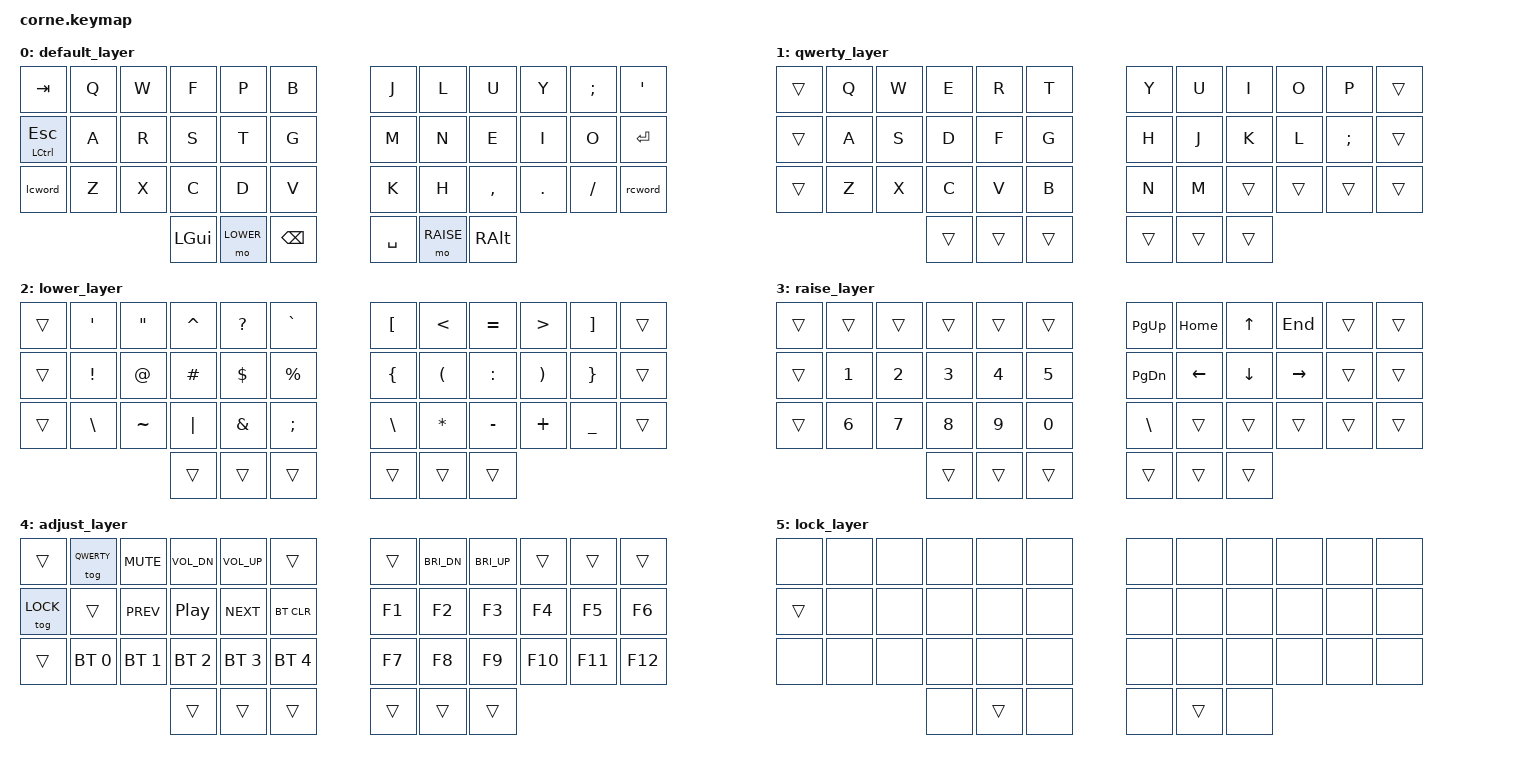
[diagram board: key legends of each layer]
/*
 * Copyright (c) 2020 The ZMK Contributors
 *
 * SPDX-License-Identifier: MIT
 */

#include <behaviors.dtsi>
#include <dt-bindings/zmk/keys.h>
#include <dt-bindings/zmk/bt.h>

#define DEFAULT 0
#define QWERTY  1
#define LOWER   2
#define RAISE   3
#define ADJUST  4
#define LOCK    5

// :: ------------------------------------------------------------------------------------------------------------------

// :: The following characters do NOT break Caps Word (in addition to alphanumeric characters).
//    https://zmk.dev/docs/behaviors/caps-word
&caps_word {
    continue-list = <UNDERSCORE MINUS BACKSPACE DELETE>;
};

/ {
    behaviors {
        // :: Enables Caps Word when key is tapped twice.
        lcword: tap_dance_0 {
            compatible = "zmk,behavior-tap-dance";
            label = "LCAPS_WORD_TD";
            tapping-term-ms = <200>;
            #binding-cells = <0>;
            bindings = <&kp LSHFT>, <&caps_word>;
        };

        rcword: tap_dance_1 {
            compatible = "zmk,behavior-tap-dance";
            label = "RCAPS_WORD_TD";
            tapping-term-ms = <200>;
            #binding-cells = <0>;
            bindings = <&kp RSHFT>, <&caps_word>;
        };
    };

    conditional_layers {
        compatible = "zmk,conditional-layers";
        adjust_layer {
            if-layers = <LOWER RAISE>;
            then-layer = <ADJUST>;
        };
    };

    keymap {
        compatible = "zmk,keymap";

        /* [0] */
        default_layer {
            bindings = <
/* --------------------------------------------------------------------------------------------------------------------------------------------------------------------------------- */
&kp TAB         &kp Q           &kp W           &kp F           &kp P           &kp B           &kp J           &kp L           &kp U           &kp Y           &kp SEMI        &kp SQT
&mt LCTRL ESC   &kp A           &kp R           &kp S           &kp T           &kp G           &kp M           &kp N           &kp E           &kp I           &kp O           &kp RET
&lcword         &kp Z           &kp X           &kp C           &kp D           &kp V           &kp K           &kp H           &kp COMMA       &kp DOT         &kp FSLH        &rcword
                                                &kp LGUI        &mo LOWER       &kp BKSP        &kp SPC         &mo RAISE       &kp RALT
/* --------------------------------------------------------------------------------------------------------------------------------------------------------------------------------- */
            >;
        };

        /* [1] */
        qwerty_layer {
            bindings = <
/* --------------------------------------------------------------------------------------------------------------------------------------------------------------------------------- */
&trans          &kp Q           &kp W           &kp E           &kp R           &kp T           &kp Y           &kp U           &kp I           &kp O           &kp P           &trans          
&trans          &kp A           &kp S           &kp D           &kp F           &kp G           &kp H           &kp J           &kp K           &kp L           &kp SEMI        &trans          
&trans          &kp Z           &kp X           &kp C           &kp V           &kp B           &kp N           &kp M           &trans          &trans          &trans          &trans          
                                                &trans          &trans          &trans          &trans          &trans          &trans          
/* --------------------------------------------------------------------------------------------------------------------------------------------------------------------------------- */
            >;
        };

        /* [2] */
        lower_layer {
            bindings = <
/* --------------------------------------------------------------------------------------------------------------------------------------------------------------------------------- */
&trans          &kp SQT         &kp DQT         &kp CARET       &kp QMARK       &kp GRAVE       &kp LBKT        &kp LT          &kp EQUAL       &kp GT          &kp RBKT        &trans          
&trans          &kp EXCL        &kp AT_SIGN     &kp HASH        &kp DOLLAR      &kp PERCENT     &kp LBRC        &kp LPAR        &kp COLON       &kp RPAR        &kp RBRC        &trans             
&trans          &kp BACKSLASH   &kp TILDE       &kp PIPE        &kp AMPERSAND   &kp SEMI        &kp BACKSLASH   &kp ASTERISK    &kp MINUS       &kp PLUS        &kp UNDERSCORE  &trans             
                                                &trans          &trans          &trans          &trans          &trans          &trans          
/* --------------------------------------------------------------------------------------------------------------------------------------------------------------------------------- */
            >;
        };

        /* [3] */
        raise_layer {
            bindings = <
/* --------------------------------------------------------------------------------------------------------------------------------------------------------------------------------- */
&trans          &trans          &trans          &trans          &trans          &trans          &kp PAGE_UP     &kp HOME        &kp UP          &kp END         &trans          &trans          
&trans          &kp N1          &kp N2          &kp N3          &kp N4          &kp N5          &kp PAGE_DOWN   &kp LEFT        &kp DOWN        &kp RIGHT       &trans          &trans             
&trans          &kp N6          &kp N7          &kp N8          &kp N9          &kp N0          &kp BACKSLASH   &trans          &trans          &trans          &trans          &trans             
                                                &trans          &trans          &trans          &trans          &trans          &trans          
/* --------------------------------------------------------------------------------------------------------------------------------------------------------------------------------- */
            >;
        };

        /* [4] */
        adjust_layer {
            bindings = <
/* --------------------------------------------------------------------------------------------------------------------------------------------------------------------------------- */
&trans          &tog QWERTY     &kp C_MUTE      &kp C_VOL_DN    &kp C_VOL_UP    &trans          &trans          &kp C_BRI_DN    &kp C_BRI_UP    &trans          &trans          &trans          
&tog LOCK       &trans          &kp C_PREV      &kp C_PP        &kp C_NEXT      &bt BT_CLR      &kp F1          &kp F2          &kp F3          &kp F4          &kp F5          &kp F6          
&trans          &bt BT_SEL 0    &bt BT_SEL 1    &bt BT_SEL 2    &bt BT_SEL 3    &bt BT_SEL 4    &kp F7          &kp F8          &kp F9          &kp F10         &kp F11         &kp F12          
                                                &trans          &trans          &trans          &trans          &trans          &trans          
/* --------------------------------------------------------------------------------------------------------------------------------------------------------------------------------- */
            >;
        };

        // ::   [LOWER]+[RAISE]+[CTRL] toggles a soft lock (via the ADJUST layer), enabling the keymap below,
        //      effectively disabling all keypresses on the keyboard. This is handy, for example, when transporting the keyboard.
        //      NOTE that the [LOWER], [RAISE], and [CTRL] keys need to be `&trans` so it is still possible to unlock the keyboard.        
        //      @see https://github.com/bcat/zmk-config/blob/8c92cdf5e93cbb2bd4357891794506e3495fea8d/config/corne.keymap#L89-L103

        /* [5] */
        lock_layer {
            bindings = <
/* --------------------------------------------------------------------------------------------------------------------------------------------------------------------------------- */
&none           &none           &none           &none           &none           &none           &none           &none           &none           &none           &none           &none           
&trans          &none           &none           &none           &none           &none           &none           &none           &none           &none           &none           &none           
&none           &none           &none           &none           &none           &none           &none           &none           &none           &none           &none           &none           
                                                &none           &trans          &none           &none           &trans          &none           
/* --------------------------------------------------------------------------------------------------------------------------------------------------------------------------------- */
            >;
        };
    };
};
